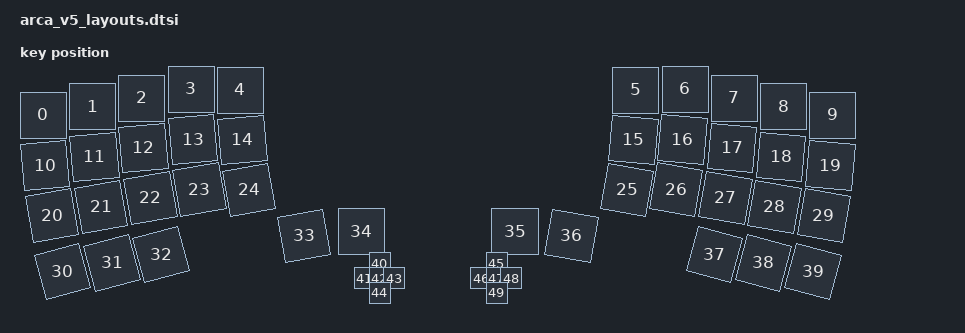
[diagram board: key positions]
// 自動生成: gen_layout.py v5（正= chat-files/ark_layout.py（ARK_GEN=v4・ARK_LAYOUT=spar）＋5way は kicad/ark_v5_{L,R}）。手編集しない
#include <physical_layouts.dtsi>

/ {
    arca_v5_layout: arca_v5_layout {
        compatible = "zmk,physical-layout";
        display-name = "Arca rev.2";
        transform = <&default_transform>;
        kscan = <&kscan0>;
        keys
            = <&key_physical_attrs  100  100     0    52       0    50   102>
            , <&key_physical_attrs  100  100    99    35       0   149    85>
            , <&key_physical_attrs  100  100   197    18       0   247    68>
            , <&key_physical_attrs  100  100   296     0       0   346    50>
            , <&key_physical_attrs  100  100   394     2       0   444    52>
            , <&key_physical_attrs  100  100  1185     2       0  1235    52>
            , <&key_physical_attrs  100  100  1284     0       0  1334    50>
            , <&key_physical_attrs  100  100  1382    18       0  1432    68>
            , <&key_physical_attrs  100  100  1481    35       0  1531    85>
            , <&key_physical_attrs  100  100  1579    52       0  1629   102>
            , <&key_physical_attrs  100  100     4   153  (-500)    54   203>
            , <&key_physical_attrs  100  100   103   136  (-500)   153   186>
            , <&key_physical_attrs  100  100   201   118  (-500)   251   168>
            , <&key_physical_attrs  100  100   300   101  (-500)   350   151>
            , <&key_physical_attrs  100  100   399   102  (-500)   449   152>
            , <&key_physical_attrs  100  100  1181   102     500  1231   152>
            , <&key_physical_attrs  100  100  1279   101     500  1329   151>
            , <&key_physical_attrs  100  100  1378   118     500  1428   168>
            , <&key_physical_attrs  100  100  1476   136     500  1526   186>
            , <&key_physical_attrs  100  100  1575   153     500  1625   203>
            , <&key_physical_attrs  100  100    18   253 (-1000)    68   303>
            , <&key_physical_attrs  100  100   116   236 (-1000)   166   286>
            , <&key_physical_attrs  100  100   215   218 (-1000)   265   268>
            , <&key_physical_attrs  100  100   313   201 (-1000)   363   251>
            , <&key_physical_attrs  100  100   412   202 (-1000)   462   252>
            , <&key_physical_attrs  100  100  1168   202    1000  1218   252>
            , <&key_physical_attrs  100  100  1266   201    1000  1316   251>
            , <&key_physical_attrs  100  100  1365   218    1000  1415   268>
            , <&key_physical_attrs  100  100  1463   236    1000  1513   286>
            , <&key_physical_attrs  100  100  1562   253    1000  1612   303>
            , <&key_physical_attrs  100  100    39   365 (-1500)    89   415>
            , <&key_physical_attrs  100  100   138   348 (-1500)   188   398>
            , <&key_physical_attrs  100  100   236   331 (-1500)   286   381>
            , <&key_physical_attrs  100  100   522   294 (-1000)   572   344>
            , <&key_physical_attrs  100  100   636   285       0   686   335>
            , <&key_physical_attrs  100  100   944   285       0   994   335>
            , <&key_physical_attrs  100  100  1057   294    1000  1107   344>
            , <&key_physical_attrs  100  100  1343   331    1500  1393   381>
            , <&key_physical_attrs  100  100  1441   348    1500  1491   398>
            , <&key_physical_attrs  100  100  1540   365    1500  1590   415>
            , <&key_physical_attrs   50   50   698   373       0   723   398>
            , <&key_physical_attrs   50   50   668   403       0   693   428>
            , <&key_physical_attrs   50   50   698   403       0   723   428>
            , <&key_physical_attrs   50   50   727   403       0   752   428>
            , <&key_physical_attrs   50   50   698   432       0   723   457>
            , <&key_physical_attrs   50   50   932   373       0   957   398>
            , <&key_physical_attrs   50   50   902   403       0   927   428>
            , <&key_physical_attrs   50   50   932   403       0   957   428>
            , <&key_physical_attrs   50   50   961   403       0   986   428>
            , <&key_physical_attrs   50   50   932   432       0   957   457>
            ;
    };
};
